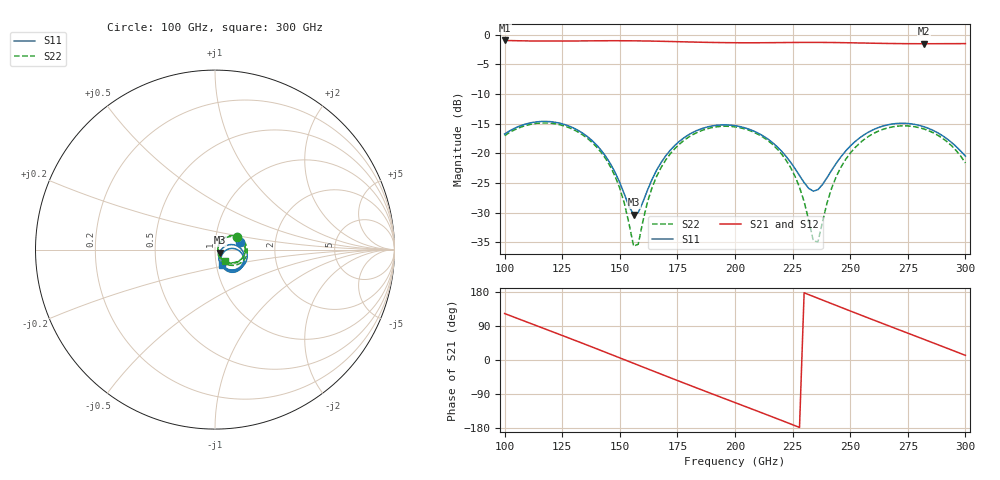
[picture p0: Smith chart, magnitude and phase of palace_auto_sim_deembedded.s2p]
! Created with skrf 1.11.0 (http://scikit-rf.org).
# GHz S DB R 50.0
!freq dBS11 angS11 dBS21 angS21 dBS12 angS12 dBS22 angS22
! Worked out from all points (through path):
!   101 points, 100 GHz to 300 GHz, reference 50 ohm
!   highest |S21| = -1.00 dB at 100 GHz (marker M1); lowest = -1.5 dB at 282 GHz (marker M2)
!   group delay of S21, straight-line fit = 6.54 ps
!   lowest |S11| = -30.3 dB at 156 GHz (marker M3), VSWR 1.06, Z = 52.6 - j1.71 ohm
!   |S11| at or under -10 dB: start of sweep to end of sweep
!   |S22| runs from -35.7 to -14.9 dB; largest |S21 - S12| = 1e-13
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100  -16.76 15.9  -1.00 122.6  -1.00 122.6  -17.04 30.7
116  -14.65 -16.5  -1.09 85.6  -1.09 85.6  -14.90 -1.1
134  -16.65 -52.5  -1.07 43.6  -1.07 43.6  -16.93 -37.5
148  -23.26 -69.7  -1.04 10.4  -1.04 10.4  -23.91 -60.2
152  -26.93 -62.7  -1.05 0.8  -1.05 0.8  -28.48 -59.0
156  -30.33 -32.2  -1.06 -8.8  -1.06 -8.8  -35.66 -24.0
158  -29.98 -9.8  -1.07 -13.6  -1.07 -13.6  -35.33 21.2
162  -26.23 15.0  -1.09 -23.2  -1.09 -23.2  -28.24 52.1
168  -21.51 18.8  -1.14 -37.5  -1.14 -37.5  -22.35 50.7
184  -16.08 -4.8  -1.28 -75.2  -1.28 -75.2  -16.42 22.7
200  -15.35 -33.8  -1.38 -112.4  -1.38 -112.4  -15.55 -8.7
212  -17.03 -53.4  -1.38 -140.2  -1.38 -140.2  -17.25 -32.0
222  -20.45 -63.4  -1.35 -163.7  -1.35 -163.7  -21.07 -49.5
228  -23.75 -58.9  -1.33 -178.0  -1.33 -178.0  -25.73 -54.9
234  -26.39 -31.9  -1.32 167.7  -1.32 167.7  -34.77 -21.4
236  -26.13 -19.5  -1.33 162.9  -1.33 162.9  -34.94 20.0
242  -22.84 1.9  -1.34 148.6  -1.34 148.6  -25.83 55.9
248  -19.64 3.3  -1.38 134.2  -1.38 134.2  -21.06 50.6
258  -16.43 -8.5  -1.45 110.6  -1.45 110.6  -17.15 32.5
268  -15.09 -24.9  -1.51 87.2  -1.51 87.2  -15.58 12.3
282  -15.53 -48.3  -1.55 54.5  -1.55 54.5  -15.91 -16.3
300  -20.49 -64.6  -1.53 12.2  -1.53 12.2  -21.64 -48.9
